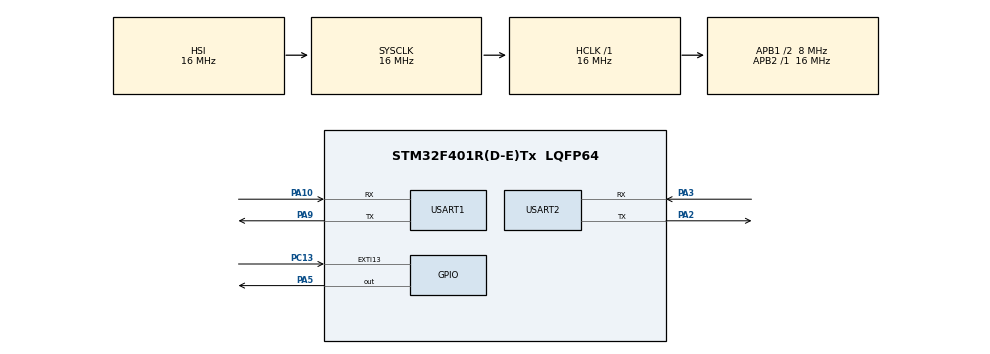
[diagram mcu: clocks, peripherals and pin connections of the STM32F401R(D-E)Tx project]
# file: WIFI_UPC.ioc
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Mcu.Family=STM32F4
RCC.CortexFreq_Value=16000000
PA10.Mode=Asynchronous
PH1\ -\ OSC_OUT.Mode=HSE-External-Clock-Source
RCC.APB1CLKDivider=RCC_HCLK_DIV2
NVIC.USART2_IRQn=true\:5\:0\:true\:false\:true\:true\:true
ProjectManager.StackSize=0x400
PA13.Signal=SYS_JTMS-SWDIO
PA3.Mode=Asynchronous
PA9.Mode=Asynchronous
PH0\ -\ OSC_IN.Mode=HSE-External-Clock-Source
PH0\ -\ OSC_IN.Signal=RCC_OSC_IN
ProjectManager.TargetToolchain=STM32CubeIDE
RCC.HCLKFreq_Value=16000000
RCC.APB2TimFreq_Value=16000000
TIM3.Period=1000
PA9.Signal=USART1_TX
RCC.LSE_VALUE=32768
RCC.AHBFreq_Value=16000000
NVIC.EXTI15_10_IRQn=true\:5\:0\:true\:false\:true\:true\:true
PA5.Signal=GPIO_Output
RCC.HSE_VALUE=8000000
PH1\ -\ OSC_OUT.Signal=RCC_OSC_OUT
PB3.Mode=Trace_Asynchronous_SW
board=custom
PC13-ANTI_TAMP.Signal=GPXTI13
RCC.VCOOutputFreq_Value=336000000
NVIC.TIM3_IRQn=true\:0\:0\:false\:false\:true\:true\:true
RCC.APB2Freq_Value=16000000
PA14.Mode=Trace_Asynchronous_SW
TIM3.Prescaler=16000
PA13.Mode=Trace_Asynchronous_SW
Mcu.Name=STM32F401R(D-E)Tx
PA2.Signal=USART2_TX
RCC.48MHZClocksFreq_Value=84000000
PB3.Signal=SYS_JTDO-SWO
RCC.SYSCLKFreq_VALUE=16000000
Mcu.Package=LQFP64
USART2.VirtualMode=VM_ASYNC
USART1.VirtualMode=VM_ASYNC
PA10.Signal=USART1_RX
PA14.Signal=SYS_JTCK-SWCLK
ProjectManager.HeapSize=0x200
RCC.HSI_VALUE=16000000
RCC.PLLP=RCC_PLLP_DIV4
NVIC.PriorityGroup=NVIC_PRIORITYGROUP_4
RCC.PLLN=336
RCC.APB1TimFreq_Value=16000000
PA2.Mode=Asynchronous
NVIC.USART1_IRQn=true\:5\:0\:true\:false\:true\:true\:true
RCC.APB1Freq_Value=8000000
VP_TIM3_VS_ClockSourceINT.Mode=Internal
PA3.Signal=USART2_RX

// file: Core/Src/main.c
/* USER CODE BEGIN Header */
/**
  ******************************************************************************
  * @file           : main.c
  * @brief          : Main program body
  ******************************************************************************
  * @attention
  *
  * <h2><center>&copy; Copyright (c) 2021 STMicroelectronics.
  * All rights reserved.</center></h2>
  *
  * This software component is licensed by ST under BSD 3-Clause license,
  * the "License"; You may not use this file except in compliance with the
  * License. You may obtain a copy of the License at:
  *                        opensource.org/licenses/BSD-3-Clause
  *
  ******************************************************************************
  */
/* USER CODE END Header */
#include "main.h"

/* USER CODE BEGIN Includes */

#include <stdio.h>
#include <string.h>
#include "eswifi_app.h"

#define B1_Pin			GPIO_PIN_13
#define B1_GPIO_Port	GPIOC
#define LD2_Pin 		GPIO_PIN_5
#define LD2_GPIO_Port	GPIOA

#undef ESWIFI_IPADDR
#define ESWIFI_IPADDR			"192.168.1.140"			//Remote IP Address
#undef ESWIFI_PORT
#define ESWIFI_PORT				"8002"					//Remote Port

#ifndef USEC0
#define USEA0
#define A0SSID				"MIWIFI_2G_Qbcj"
#endif

extern struct esWifiCircularBuffer esWiFiRxData;

/* USER CODE END Includes */

TIM_HandleTypeDef htim3;

UART_HandleTypeDef huart1;
UART_HandleTypeDef huart2;

void SystemClock_Config(void);
static void MX_GPIO_Init(void);
static void MX_TIM3_Init(void);
static void MX_USART2_UART_Init(void);
static void MX_USART1_UART_Init(void);
/* USER CODE BEGIN PFP */
void remove_all_chars(char* str, char c);

/* USER CODE END PFP */

/* USER CODE BEGIN 0 */

void remove_all_chars(char* str, char c){
    char *pr = str, *pw = str;
    while (*pr) {
        *pw = *pr++;
        pw += (*pw != c);
    }
    *pw = '\0';
}

void HAL_UART_RxCpltCallback(UART_HandleTypeDef *huart)
{
  /* Prevent unused argument(s) compilation warning */
    uint8_t aux =(uint8_t )(huart->Instance->DR & (uint8_t)0x00FFU);

    esWifiRx(&aux,0);
  /* NOTE: This function should not be modified, when the callback is needed,
           the HAL_UART_TxCpltCallback could be implemented in the user file
   */
}

/* USER CODE END 0 */

int main(void)
{
  /* USER CODE BEGIN 1 */
	char msg[ESWIFI_MAX_MSG_SIZE];			//Outgoing message
	char tmp[32];								//Temporary string

  /* USER CODE END 1 */

  /* MCU Configuration--------------------------------------------------------*/

  /* Reset of all peripherals, Initializes the Flash interface and the Systick. */
  HAL_Init();

  /* Configure the system clock */
  SystemClock_Config();

  /* Initialize all configured peripherals */
  MX_GPIO_Init();
  MX_TIM3_Init();
  MX_USART2_UART_Init();
  MX_USART1_UART_Init();
  /* USER CODE BEGIN 2 */

  /* init uart interface to esWiFi */
  esWifiFlushUart();
  esWifiFlushBuff();

  /* Get module attention, in case banner hasn't finished  */
  esWifiTx((int8_t *)"\r");

  //s'hem penjaaaa AQUIIIIIIIIIIIIIIIIIIIIIIIIIIIIIIIIIIIIIIII*/
  esWifiParse((int8_t *)"");

  /* Start */
  dbgTx((int8_t *)"\r\nApplication Starting\r\n");  /* Application Start */

  /* Get Module Information */
  esWifiTx((int8_t *)"I?\r");
  	  if (esWifiParse((int8_t *)"OK") != ESWIFI_SUCCESS)  { dbgTx((int8_t *)"\r\nI? Error\r\n"); }
       	   dbgTx((int8_t *)eswifi_app_buf.rxData);		//Send to debug terminal

/* Enable Link LED */
   esWifiTx((int8_t *)"WL=3,255,1\r");
    	if (esWifiParse((int8_t *)"OK") != ESWIFI_SUCCESS)  { dbgTx((int8_t *)"\r\nWL Error\r\n"); }

  /* USER CODE END 2 */

  /* Infinite loop */
  while (1)
  {

  }
}

void SystemClock_Config(void)
{
  RCC_OscInitTypeDef RCC_OscInitStruct = {0};
  RCC_ClkInitTypeDef RCC_ClkInitStruct = {0};

  /** Configure the main internal regulator output voltage
  */
  __HAL_RCC_PWR_CLK_ENABLE();
  __HAL_PWR_VOLTAGESCALING_CONFIG(PWR_REGULATOR_VOLTAGE_SCALE2);
  /** Initializes the RCC Oscillators according to the specified parameters
  * in the RCC_OscInitTypeDef structure.
  */
  RCC_OscInitStruct.OscillatorType = RCC_OSCILLATORTYPE_HSI;
  RCC_OscInitStruct.HSIState = RCC_HSI_ON;
  RCC_OscInitStruct.HSICalibrationValue = RCC_HSICALIBRATION_DEFAULT;
  RCC_OscInitStruct.PLL.PLLState = RCC_PLL_NONE;
  if (HAL_RCC_OscConfig(&RCC_OscInitStruct) != HAL_OK)
  {
    Error_Handler();
  }
  /** Initializes the CPU, AHB and APB buses clocks
  */
  RCC_ClkInitStruct.ClockType = RCC_CLOCKTYPE_HCLK|RCC_CLOCKTYPE_SYSCLK
                              |RCC_CLOCKTYPE_PCLK1|RCC_CLOCKTYPE_PCLK2;
  RCC_ClkInitStruct.SYSCLKSource = RCC_SYSCLKSOURCE_HSI;
  RCC_ClkInitStruct.AHBCLKDivider = RCC_SYSCLK_DIV1;
  RCC_ClkInitStruct.APB1CLKDivider = RCC_HCLK_DIV2;
  RCC_ClkInitStruct.APB2CLKDivider = RCC_HCLK_DIV1;

  if (HAL_RCC_ClockConfig(&RCC_ClkInitStruct, FLASH_LATENCY_0) != HAL_OK)
  {
    Error_Handler();
  }
}

static void MX_TIM3_Init(void)
{

  TIM_ClockConfigTypeDef sClockSourceConfig = {0};
  TIM_MasterConfigTypeDef sMasterConfig = {0};

  htim3.Instance = TIM3;
  htim3.Init.Prescaler = 16000;
  htim3.Init.CounterMode = TIM_COUNTERMODE_UP;
  htim3.Init.Period = 1000;
  htim3.Init.ClockDivision = TIM_CLOCKDIVISION_DIV1;
  htim3.Init.AutoReloadPreload = TIM_AUTORELOAD_PRELOAD_DISABLE;
  if (HAL_TIM_Base_Init(&htim3) != HAL_OK)
  {
    Error_Handler();
  }
  sClockSourceConfig.ClockSource = TIM_CLOCKSOURCE_INTERNAL;
  if (HAL_TIM_ConfigClockSource(&htim3, &sClockSourceConfig) != HAL_OK)
  {
    Error_Handler();
  }
  sMasterConfig.MasterOutputTrigger = TIM_TRGO_RESET;
  sMasterConfig.MasterSlaveMode = TIM_MASTERSLAVEMODE_DISABLE;
  if (HAL_TIMEx_MasterConfigSynchronization(&htim3, &sMasterConfig) != HAL_OK)
  {
    Error_Handler();
  }

}

static void MX_USART1_UART_Init(void)
{

  huart1.Instance = USART1;
  huart1.Init.BaudRate = 115200;
  huart1.Init.WordLength = UART_WORDLENGTH_8B;
  huart1.Init.StopBits = UART_STOPBITS_1;
  huart1.Init.Parity = UART_PARITY_NONE;
  huart1.Init.Mode = UART_MODE_TX_RX;
  huart1.Init.HwFlowCtl = UART_HWCONTROL_NONE;
  huart1.Init.OverSampling = UART_OVERSAMPLING_16;
  if (HAL_UART_Init(&huart1) != HAL_OK)
  {
    Error_Handler();
  }

}

static void MX_USART2_UART_Init(void)
{

  huart2.Instance = USART2;
  huart2.Init.BaudRate = 115200;
  huart2.Init.WordLength = UART_WORDLENGTH_8B;
  huart2.Init.StopBits = UART_STOPBITS_1;
  huart2.Init.Parity = UART_PARITY_NONE;
  huart2.Init.Mode = UART_MODE_TX_RX;
  huart2.Init.HwFlowCtl = UART_HWCONTROL_NONE;
  huart2.Init.OverSampling = UART_OVERSAMPLING_16;
  if (HAL_UART_Init(&huart2) != HAL_OK)
  {
    Error_Handler();
  }

}

static void MX_GPIO_Init(void)
{
  GPIO_InitTypeDef GPIO_InitStruct = {0};

  /* GPIO Ports Clock Enable */
  __HAL_RCC_GPIOC_CLK_ENABLE();
  __HAL_RCC_GPIOH_CLK_ENABLE();
  __HAL_RCC_GPIOA_CLK_ENABLE();
  __HAL_RCC_GPIOB_CLK_ENABLE();

  /*Configure GPIO pin Output Level */
  HAL_GPIO_WritePin(GPIOA, GPIO_PIN_5, GPIO_PIN_RESET);

  /*Configure GPIO pin : PC13 */
  GPIO_InitStruct.Pin = GPIO_PIN_13;
  GPIO_InitStruct.Mode = GPIO_MODE_IT_RISING;
  GPIO_InitStruct.Pull = GPIO_NOPULL;
  HAL_GPIO_Init(GPIOC, &GPIO_InitStruct);

  /*Configure GPIO pin : PA5 */
  GPIO_InitStruct.Pin = GPIO_PIN_5;
  GPIO_InitStruct.Mode = GPIO_MODE_OUTPUT_PP;
  GPIO_InitStruct.Pull = GPIO_NOPULL;
  GPIO_InitStruct.Speed = GPIO_SPEED_FREQ_LOW;
  HAL_GPIO_Init(GPIOA, &GPIO_InitStruct);

  /* EXTI interrupt init*/
  HAL_NVIC_SetPriority(EXTI15_10_IRQn, 5, 0);
  HAL_NVIC_EnableIRQ(EXTI15_10_IRQn);

}

void Error_Handler(void)
{
  __disable_irq();
  while (1)
  {
  }
}

/************************ (C) COPYRIGHT STMicroelectronics *****END OF FILE****/
